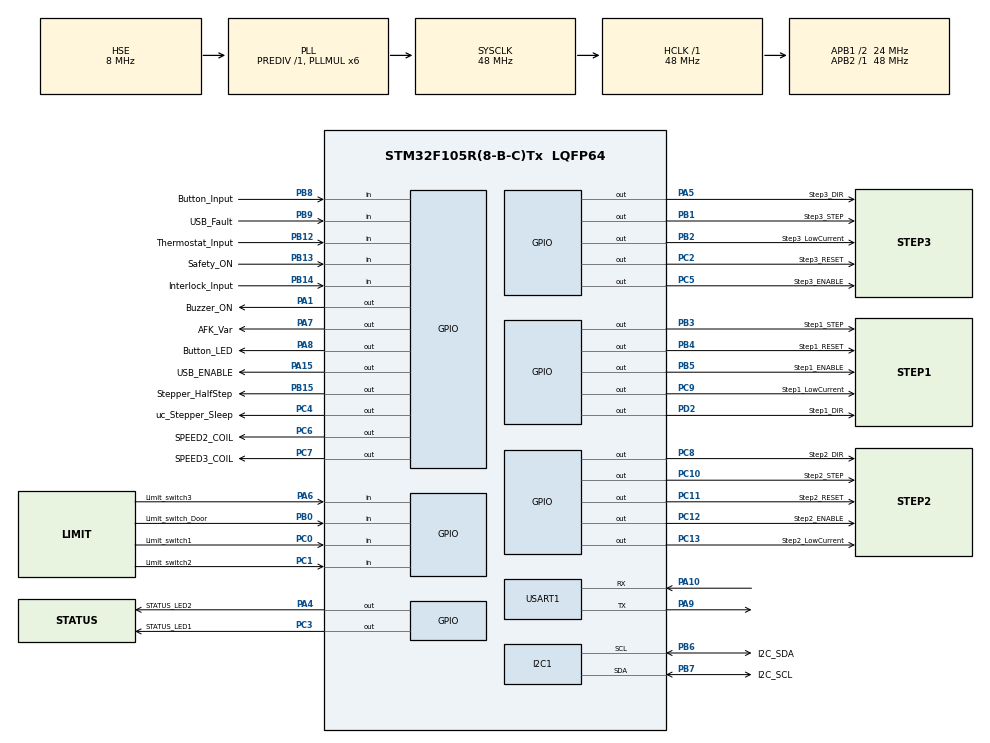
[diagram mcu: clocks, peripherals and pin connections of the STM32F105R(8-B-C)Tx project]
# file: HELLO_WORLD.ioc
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FREERTOS.BinarySemaphores01=I2CSemaphore,Dynamic,NULL
FREERTOS.INCLUDE_uxTaskGetStackHighWaterMark=1
FREERTOS.Tasks01=defaultTask,0,128,StartDefaultTask,Default,NULL,Dynamic,NULL,NULL
FREERTOS.Timers01=Timer,TimerCallback,osTimerPeriodic,Default,NULL,Dynamic,NULL
FREERTOS.configTOTAL_HEAP_SIZE=8192
FREERTOS.configUSE_TIMERS=1
Mcu.Family=STM32F1
Mcu.Name=STM32F105R(8-B-C)Tx
Mcu.Package=LQFP64
NVIC.I2C1_ER_IRQn=true\:5\:0\:false\:false\:true\:true\:true\:true
NVIC.I2C1_EV_IRQn=true\:5\:0\:false\:false\:true\:true\:true\:true
NVIC.PriorityGroup=NVIC_PRIORITYGROUP_4
NVIC.TIM1_UP_IRQn=true\:0\:0\:false\:false\:true\:false\:false\:true
NVIC.TimeBase=TIM1_UP_IRQn
NVIC.TimeBaseIP=TIM1
PA1.GPIO_Label=Buzzer_ON
PA1.Signal=GPIO_Output
PA10.Mode=Asynchronous
PA10.Signal=USART1_RX
PA13.Mode=Serial_Wire
PA13.Signal=SYS_JTMS-SWDIO
PA14.Mode=Serial_Wire
PA14.Signal=SYS_JTCK-SWCLK
PA15.GPIO_Label=USB_ENABLE
PA15.Signal=GPIO_Output
PA2.Signal=USART2_TX
PA3.Signal=USART2_RX
PA4.GPIO_Label=STATUS_LED2
PA4.PinState=GPIO_PIN_SET
PA4.Signal=GPIO_Output
PA5.GPIO_Label=Step3_DIR
PA5.Signal=GPIO_Output
PA6.GPIO_Label=Limit_switch3
PA6.Signal=GPIO_Input
PA7.GPIO_Label=AFK_Var
PA7.Signal=GPIO_Output
PA8.GPIO_Label=Button_LED
PA8.PinState=GPIO_PIN_SET
PA8.Signal=GPIO_Output
PA9.Mode=Asynchronous
PA9.Signal=USART1_TX
PB0.GPIO_Label=Limit_switch_Door
PB0.Signal=GPIO_Input
PB1.GPIO_Label=Step3_STEP
PB1.Signal=GPIO_Output
PB10.Signal=USART3_TX
PB11.Signal=USART3_RX
PB12.GPIO_Label=Thermostat_Input
PB12.Signal=GPIO_Input
PB13.GPIO_Label=Safety_ON
PB13.Signal=GPIO_Input
PB14.GPIO_Label=Interlock_Input
PB14.Signal=GPIO_Input
PB15.GPIO_Label=Stepper_HalfStep
PB15.Signal=GPIO_Output
PB2.GPIO_Label=Step3_LowCurrent
PB2.Signal=GPIO_Output
PB3.GPIO_Label=Step1_STEP
PB3.Signal=GPIO_Output
PB4.GPIO_Label=Step1_RESET
PB4.PinState=GPIO_PIN_SET
PB4.Signal=GPIO_Output
PB5.GPIO_Label=Step1_ENABLE
PB5.PinState=GPIO_PIN_SET
PB5.Signal=GPIO_Output
PB6.GPIO_Label=I2C_SDA
PB6.Mode=I2C
PB6.Signal=I2C1_SCL
PB7.GPIO_Label=I2C_SCL
PB7.Mode=I2C
PB7.Signal=I2C1_SDA
PB8.GPIO_Label=Button_Input
PB8.Signal=GPIO_Input
PB9.GPIO_Label=USB_Fault
PB9.Signal=GPIO_Input
PC0.GPIO_Label=Limit_switch1
PC0.Signal=GPIO_Input
PC1.GPIO_Label=Limit_switch2
PC1.Signal=GPIO_Input
PC10.GPIO_Label=Step2_STEP
PC10.Signal=GPIO_Output
PC11.GPIO_Label=Step2_RESET
PC11.PinState=GPIO_PIN_SET
PC11.Signal=GPIO_Output
PC12.GPIO_Label=Step2_ENABLE
PC12.PinState=GPIO_PIN_SET
PC12.Signal=GPIO_Output
PC13-TAMPER-RTC.GPIO_Label=Step2_LowCurrent
PC13-TAMPER-RTC.Signal=GPIO_Output
PC2.GPIO_Label=Step3_RESET
PC2.PinState=GPIO_PIN_SET
PC2.Signal=GPIO_Output
PC3.GPIO_Label=STATUS_LED1
PC3.GPIO_ModeDefaultOutputPP=GPIO_MODE_OUTPUT_PP
PC3.PinState=GPIO_PIN_SET
PC3.Signal=GPIO_Output
PC4.GPIO_Label=uc_Stepper_Sleep
PC4.Signal=GPIO_Output
PC5.GPIO_Label=Step3_ENABLE
PC5.PinState=GPIO_PIN_SET
PC5.Signal=GPIO_Output
PC6.GPIO_Label=SPEED2_COIL
PC6.Signal=GPIO_Output
PC7.GPIO_Label=SPEED3_COIL
PC7.Signal=GPIO_Output
PC8.GPIO_Label=Step2_DIR
PC8.Signal=GPIO_Output
PC9.GPIO_Label=Step1_LowCurrent
PC9.Signal=GPIO_Output
PD0-OSC_IN.Mode=HSE-External-Oscillator
PD0-OSC_IN.Signal=RCC_OSC_IN
PD1-OSC_OUT.Mode=HSE-External-Oscillator
PD1-OSC_OUT.Signal=RCC_OSC_OUT
PD2.GPIO_Label=Step1_DIR
PD2.Signal=GPIO_Output
ProjectManager.HeapSize=0x200
ProjectManager.StackSize=0x400
ProjectManager.TargetToolchain=STM32CubeIDE
RCC.AHBFreq_Value=48000000
RCC.APB1CLKDivider=RCC_HCLK_DIV2
RCC.APB1Freq_Value=24000000
RCC.APB1TimFreq_Value=48000000
RCC.APB2Freq_Value=48000000
RCC.APB2TimFreq_Value=48000000
RCC.HCLKFreq_Value=48000000
RCC.PLL2Mul=RCC_PLL2_MUL12
RCC.PLLMUL=RCC_PLL_MUL6
RCC.PLLSourceVirtual=RCC_PLLSOURCE_HSE
RCC.Prediv2=RCC_HSE_PREDIV2_DIV2
RCC.SYSCLKFreq_VALUE=48000000
RCC.SYSCLKSource=RCC_SYSCLKSOURCE_PLLCLK
RCC.USBFreq_Value=32000000
USART1.VirtualMode=VM_ASYNC
VP_FREERTOS_VS_CMSIS_V1.Mode=CMSIS_V1
VP_RTC_No_RTC_Output.Mode=RTC_OUT_NO
VP_RTC_VS_RTC_Activate.Mode=RTC_Enabled
VP_RTC_VS_RTC_Calendar.Mode=RTC_Calendar
VP_SYS_VS_tim1.Mode=TIM1
board=custom

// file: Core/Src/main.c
/* USER CODE BEGIN Header */
/**
  ******************************************************************************
  * @file           : main.c
  * @brief          : Main program body
  ******************************************************************************
  * @attention
  *
  * <h2><center>&copy; Copyright (c) 2022 STMicroelectronics.
  * All rights reserved.</center></h2>
  *
  * This software component is licensed by ST under BSD 3-Clause license,
  * the "License"; You may not use this file except in compliance with the
  * License. You may obtain a copy of the License at:
  *                        opensource.org/licenses/BSD-3-Clause
  *
  ******************************************************************************
  */
/* USER CODE END Header */
#include "main.h"
#include "cmsis_os.h"

/* USER CODE BEGIN Includes */
#include "MotorManager.h"
#include "TemperatureManager.h"
#include "DebugPort.h"
#include "TestManager.h"
#include "DebugManager.h"
#include "algo.h"
#include "Hmi.h"
#include <stdio.h>
/* USER CODE END Includes */

I2C_HandleTypeDef hi2c1;

RTC_HandleTypeDef hrtc;

UART_HandleTypeDef huart1;

osThreadId defaultTaskHandle;
osTimerId TimerHandle;
osSemaphoreId I2CSemaphoreHandle;
/* USER CODE BEGIN PV */
osThreadId TemperatureMeasHandle;
osThreadId StepperManagerTHandle;
osThreadId DebugManagerTHandle;
osThreadId HmiManagerTHandle;

#define MAJOR_VER 1
#define MINOR_VER 0
#define REVISION_VER 8

RTC_TimeTypeDef sTime;

/* USER CODE END PV */

void SystemClock_Config(void);
static void MX_GPIO_Init(void);
static void MX_RTC_Init(void);
static void MX_USART1_UART_Init(void);
void StartDefaultTask(void const * argument);
void TimerCallback(void const * argument);

/* USER CODE BEGIN PFP */
//void TemperatureManager(void const * argument);
//void Steppermanager(void const * argument);

/* USER CODE END PFP */

int main(void)
{

  /* MCU Configuration--------------------------------------------------------*/

  /* Reset of all peripherals, Initializes the Flash interface and the Systick. */
  HAL_Init();

  /* Configure the system clock */
  SystemClock_Config();

  /* Initialize all configured peripherals */
  MX_GPIO_Init();
  MX_I2C1_Init();
  MX_RTC_Init();
  MX_USART1_UART_Init();

  /* Create the semaphores(s) */
  /* definition and creation of I2CSemaphore */
  osSemaphoreDef(I2CSemaphore);
  I2CSemaphoreHandle = osSemaphoreCreate(osSemaphore(I2CSemaphore), 1);

  /* Create the timer(s) */
  /* definition and creation of Timer */
  osTimerDef(Timer, TimerCallback);
  TimerHandle = osTimerCreate(osTimer(Timer), osTimerPeriodic, NULL);

  /* Create the thread(s) */
  /* definition and creation of defaultTask */
  osThreadDef(defaultTask, StartDefaultTask, osPriorityNormal, 0, 128);
  defaultTaskHandle = osThreadCreate(osThread(defaultTask), NULL);

  /* USER CODE BEGIN RTOS_THREADS */
  /* add threads, ... */

  osThreadDef(TemperatureMeas, TemperatureManager, osPriorityNormal, 0, 512); //TODO: Validate maximum stack needed adding printf end in Hard Fault handler
  TemperatureMeasHandle = osThreadCreate(osThread(TemperatureMeas), NULL);

  osThreadDef(StepperManagerT, Steppermanager, osPriorityNormal, 0, 128);
  StepperManagerTHandle = osThreadCreate(osThread(StepperManagerT), NULL);

  osThreadDef(DebugManagerT, DebugManager, osPriorityNormal, 0, 512);
  DebugManagerTHandle = osThreadCreate(osThread(DebugManagerT), NULL);

  osThreadDef(HmiManagerT, HmiManager, osPriorityNormal, 0, 128);
  HmiManagerTHandle = osThreadCreate(osThread(HmiManagerT), NULL);

  /* USER CODE END RTOS_THREADS */

  /* Start scheduler */
  osKernelStart();

  /* We should never get here as control is now taken by the scheduler */
  /* Infinite loop */
  while (1)
  {

  }
}

void SystemClock_Config(void)
{
  RCC_OscInitTypeDef RCC_OscInitStruct = {0};
  RCC_ClkInitTypeDef RCC_ClkInitStruct = {0};
  RCC_PeriphCLKInitTypeDef PeriphClkInit = {0};

  /** Initializes the RCC Oscillators according to the specified parameters
  * in the RCC_OscInitTypeDef structure.
  */
  RCC_OscInitStruct.OscillatorType = RCC_OSCILLATORTYPE_LSI|RCC_OSCILLATORTYPE_HSE;
  RCC_OscInitStruct.HSEState = RCC_HSE_ON;
  RCC_OscInitStruct.HSEPredivValue = RCC_HSE_PREDIV_DIV1;
  RCC_OscInitStruct.HSIState = RCC_HSI_ON;
  RCC_OscInitStruct.LSIState = RCC_LSI_ON;
  RCC_OscInitStruct.Prediv1Source = RCC_PREDIV1_SOURCE_HSE;
  RCC_OscInitStruct.PLL.PLLState = RCC_PLL_ON;
  RCC_OscInitStruct.PLL.PLLSource = RCC_PLLSOURCE_HSE;
  RCC_OscInitStruct.PLL.PLLMUL = RCC_PLL_MUL6;
  RCC_OscInitStruct.PLL2.PLL2State = RCC_PLL_NONE;
  if (HAL_RCC_OscConfig(&RCC_OscInitStruct) != HAL_OK)
  {
    Error_Handler();
  }
  /** Initializes the CPU, AHB and APB buses clocks
  */
  RCC_ClkInitStruct.ClockType = RCC_CLOCKTYPE_HCLK|RCC_CLOCKTYPE_SYSCLK
                              |RCC_CLOCKTYPE_PCLK1|RCC_CLOCKTYPE_PCLK2;
  RCC_ClkInitStruct.SYSCLKSource = RCC_SYSCLKSOURCE_PLLCLK;
  RCC_ClkInitStruct.AHBCLKDivider = RCC_SYSCLK_DIV1;
  RCC_ClkInitStruct.APB1CLKDivider = RCC_HCLK_DIV2;
  RCC_ClkInitStruct.APB2CLKDivider = RCC_HCLK_DIV1;

  if (HAL_RCC_ClockConfig(&RCC_ClkInitStruct, FLASH_LATENCY_1) != HAL_OK)
  {
    Error_Handler();
  }
  PeriphClkInit.PeriphClockSelection = RCC_PERIPHCLK_RTC;
  PeriphClkInit.RTCClockSelection = RCC_RTCCLKSOURCE_LSI;
  if (HAL_RCCEx_PeriphCLKConfig(&PeriphClkInit) != HAL_OK)
  {
    Error_Handler();
  }
  /** Configure the Systick interrupt time
  */
  __HAL_RCC_PLLI2S_ENABLE();
}

void MX_I2C1_Init(void)
{

  hi2c1.Instance = I2C1;
  hi2c1.Init.ClockSpeed = 100000;
  hi2c1.Init.DutyCycle = I2C_DUTYCYCLE_2;
  hi2c1.Init.OwnAddress1 = 0;
  hi2c1.Init.AddressingMode = I2C_ADDRESSINGMODE_7BIT;
  hi2c1.Init.DualAddressMode = I2C_DUALADDRESS_DISABLE;
  hi2c1.Init.OwnAddress2 = 0;
  hi2c1.Init.GeneralCallMode = I2C_GENERALCALL_DISABLE;
  hi2c1.Init.NoStretchMode = I2C_NOSTRETCH_DISABLE;
  if (HAL_I2C_Init(&hi2c1) != HAL_OK)
  {
    Error_Handler();
  }

}

static void MX_RTC_Init(void)
{

  RTC_TimeTypeDef sTime = {0};
  RTC_DateTypeDef DateToUpdate = {0};

  /** Initialize RTC Only
  */
  hrtc.Instance = RTC;
  hrtc.Init.AsynchPrediv = RTC_AUTO_1_SECOND;
  hrtc.Init.OutPut = RTC_OUTPUTSOURCE_NONE;
  if (HAL_RTC_Init(&hrtc) != HAL_OK)
  {
    Error_Handler();
  }

  /** Initialize RTC and set the Time and Date
  */
  sTime.Hours = 0x0;
  sTime.Minutes = 0x0;
  sTime.Seconds = 0x0;

  if (HAL_RTC_SetTime(&hrtc, &sTime, RTC_FORMAT_BCD) != HAL_OK)
  {
    Error_Handler();
  }
  DateToUpdate.WeekDay = RTC_WEEKDAY_MONDAY;
  DateToUpdate.Month = RTC_MONTH_JANUARY;
  DateToUpdate.Date = 0x1;
  DateToUpdate.Year = 0x0;

  if (HAL_RTC_SetDate(&hrtc, &DateToUpdate, RTC_FORMAT_BCD) != HAL_OK)
  {
    Error_Handler();
  }

}

static void MX_USART1_UART_Init(void)
{

  huart1.Instance = USART1;
  huart1.Init.BaudRate = 115200;
  huart1.Init.WordLength = UART_WORDLENGTH_8B;
  huart1.Init.StopBits = UART_STOPBITS_1;
  huart1.Init.Parity = UART_PARITY_NONE;
  huart1.Init.Mode = UART_MODE_TX_RX;
  huart1.Init.HwFlowCtl = UART_HWCONTROL_NONE;
  huart1.Init.OverSampling = UART_OVERSAMPLING_16;
  if (HAL_UART_Init(&huart1) != HAL_OK)
  {
    Error_Handler();
  }

}

static void MX_GPIO_Init(void)
{
  GPIO_InitTypeDef GPIO_InitStruct = {0};

  /* GPIO Ports Clock Enable */
  __HAL_RCC_GPIOC_CLK_ENABLE();
  __HAL_RCC_GPIOD_CLK_ENABLE();
  __HAL_RCC_GPIOA_CLK_ENABLE();
  __HAL_RCC_GPIOB_CLK_ENABLE();

  /*Configure GPIO pin Output Level */
  HAL_GPIO_WritePin(GPIOC, Step2_LowCurrent_Pin|uc_Stepper_Sleep_Pin|SPEED2_COIL_Pin|SPEED3_COIL_Pin
                          |Step2_DIR_Pin|Step1_LowCurrent_Pin|Step2_STEP_Pin, GPIO_PIN_RESET);

  /*Configure GPIO pin Output Level */
  HAL_GPIO_WritePin(GPIOC, Step3_RESET_Pin|STATUS_LED1_Pin|Step3_ENABLE_Pin|Step2_RESET_Pin
                          |Step2_ENABLE_Pin, GPIO_PIN_SET);

  /*Configure GPIO pin Output Level */
  HAL_GPIO_WritePin(GPIOA, Buzzer_ON_Pin|Step3_DIR_Pin|AFK_Var_Pin|USB_ENABLE_Pin, GPIO_PIN_RESET);

  /*Configure GPIO pin Output Level */
  HAL_GPIO_WritePin(GPIOA, STATUS_LED2_Pin|Button_LED_Pin, GPIO_PIN_SET);

  /*Configure GPIO pin Output Level */
  HAL_GPIO_WritePin(GPIOB, Step3_STEP_Pin|Step3_LowCurrent_Pin|Stepper_HalfStep_Pin|Step1_STEP_Pin, GPIO_PIN_RESET);

  /*Configure GPIO pin Output Level */
  HAL_GPIO_WritePin(Step1_DIR_GPIO_Port, Step1_DIR_Pin, GPIO_PIN_RESET);

  /*Configure GPIO pin Output Level */
  HAL_GPIO_WritePin(GPIOB, Step1_RESET_Pin|Step1_ENABLE_Pin, GPIO_PIN_SET);

  /*Configure GPIO pins : Step2_LowCurrent_Pin Step3_RESET_Pin STATUS_LED1_Pin uc_Stepper_Sleep_Pin
                           Step3_ENABLE_Pin SPEED2_COIL_Pin SPEED3_COIL_Pin Step2_DIR_Pin
                           Step1_LowCurrent_Pin Step2_STEP_Pin Step2_RESET_Pin Step2_ENABLE_Pin */
  GPIO_InitStruct.Pin = Step2_LowCurrent_Pin|Step3_RESET_Pin|STATUS_LED1_Pin|uc_Stepper_Sleep_Pin
                          |Step3_ENABLE_Pin|SPEED2_COIL_Pin|SPEED3_COIL_Pin|Step2_DIR_Pin
                          |Step1_LowCurrent_Pin|Step2_STEP_Pin|Step2_RESET_Pin|Step2_ENABLE_Pin;
  GPIO_InitStruct.Mode = GPIO_MODE_OUTPUT_PP;
  GPIO_InitStruct.Pull = GPIO_NOPULL;
  GPIO_InitStruct.Speed = GPIO_SPEED_FREQ_LOW;
  HAL_GPIO_Init(GPIOC, &GPIO_InitStruct);

  /*Configure GPIO pins : Limit_switch1_Pin Limit_switch2_Pin */
  GPIO_InitStruct.Pin = Limit_switch1_Pin|Limit_switch2_Pin;
  GPIO_InitStruct.Mode = GPIO_MODE_INPUT;
  GPIO_InitStruct.Pull = GPIO_NOPULL;
  HAL_GPIO_Init(GPIOC, &GPIO_InitStruct);

  /*Configure GPIO pins : Buzzer_ON_Pin STATUS_LED2_Pin Step3_DIR_Pin AFK_Var_Pin
                           Button_LED_Pin USB_ENABLE_Pin */
  GPIO_InitStruct.Pin = Buzzer_ON_Pin|STATUS_LED2_Pin|Step3_DIR_Pin|AFK_Var_Pin
                          |Button_LED_Pin|USB_ENABLE_Pin;
  GPIO_InitStruct.Mode = GPIO_MODE_OUTPUT_PP;
  GPIO_InitStruct.Pull = GPIO_NOPULL;
  GPIO_InitStruct.Speed = GPIO_SPEED_FREQ_LOW;
  HAL_GPIO_Init(GPIOA, &GPIO_InitStruct);

  /*Configure GPIO pin : PA2 */
  GPIO_InitStruct.Pin = GPIO_PIN_2;
  GPIO_InitStruct.Mode = GPIO_MODE_AF_PP;
  GPIO_InitStruct.Speed = GPIO_SPEED_FREQ_HIGH;
  HAL_GPIO_Init(GPIOA, &GPIO_InitStruct);

  /*Configure GPIO pin : PA3 */
  GPIO_InitStruct.Pin = GPIO_PIN_3;
  GPIO_InitStruct.Mode = GPIO_MODE_INPUT;
  GPIO_InitStruct.Pull = GPIO_NOPULL;
  HAL_GPIO_Init(GPIOA, &GPIO_InitStruct);

  /*Configure GPIO pin : Limit_switch3_Pin */
  GPIO_InitStruct.Pin = Limit_switch3_Pin;
  GPIO_InitStruct.Mode = GPIO_MODE_INPUT;
  GPIO_InitStruct.Pull = GPIO_NOPULL;
  HAL_GPIO_Init(Limit_switch3_GPIO_Port, &GPIO_InitStruct);

  /*Configure GPIO pins : Limit_switch_Door_Pin Thermostat_Input_Pin Safety_ON_Pin Interlock_Input_Pin
                           Button_Input_Pin USB_Fault_Pin */
  GPIO_InitStruct.Pin = Limit_switch_Door_Pin|Thermostat_Input_Pin|Safety_ON_Pin|Interlock_Input_Pin
                          |Button_Input_Pin|USB_Fault_Pin;
  GPIO_InitStruct.Mode = GPIO_MODE_INPUT;
  GPIO_InitStruct.Pull = GPIO_NOPULL;
  HAL_GPIO_Init(GPIOB, &GPIO_InitStruct);

  /*Configure GPIO pins : Step3_STEP_Pin Step3_LowCurrent_Pin Stepper_HalfStep_Pin Step1_STEP_Pin
                           Step1_RESET_Pin Step1_ENABLE_Pin */
  GPIO_InitStruct.Pin = Step3_STEP_Pin|Step3_LowCurrent_Pin|Stepper_HalfStep_Pin|Step1_STEP_Pin
                          |Step1_RESET_Pin|Step1_ENABLE_Pin;
  GPIO_InitStruct.Mode = GPIO_MODE_OUTPUT_PP;
  GPIO_InitStruct.Pull = GPIO_NOPULL;
  GPIO_InitStruct.Speed = GPIO_SPEED_FREQ_LOW;
  HAL_GPIO_Init(GPIOB, &GPIO_InitStruct);

  /*Configure GPIO pin : PB10 */
  GPIO_InitStruct.Pin = GPIO_PIN_10;
  GPIO_InitStruct.Mode = GPIO_MODE_AF_PP;
  GPIO_InitStruct.Speed = GPIO_SPEED_FREQ_HIGH;
  HAL_GPIO_Init(GPIOB, &GPIO_InitStruct);

  /*Configure GPIO pin : PB11 */
  GPIO_InitStruct.Pin = GPIO_PIN_11;
  GPIO_InitStruct.Mode = GPIO_MODE_INPUT;
  GPIO_InitStruct.Pull = GPIO_NOPULL;
  HAL_GPIO_Init(GPIOB, &GPIO_InitStruct);

  /*Configure GPIO pin : Step1_DIR_Pin */
  GPIO_InitStruct.Pin = Step1_DIR_Pin;
  GPIO_InitStruct.Mode = GPIO_MODE_OUTPUT_PP;
  GPIO_InitStruct.Pull = GPIO_NOPULL;
  GPIO_InitStruct.Speed = GPIO_SPEED_FREQ_LOW;
  HAL_GPIO_Init(Step1_DIR_GPIO_Port, &GPIO_InitStruct);

}

void StartDefaultTask(void const * argument)
{
  /* USER CODE BEGIN 5 */
	printf("-------------------------------\n\r"); //TODO: if we remove this call, go to hardfault handler  or fail to execute

	    switch (readModel())
	    {
	    	  case HEATMAX:
	  	   	  printf("HeatCom CaddyAdv");
	  	  break;
	    	  case CADDY_ADVANCED:
	    		  printf("Caddy Advanced");
	  	  break;
	    	  case HEATPACK:
	    		  printf("Heatpack");
	  	  break;
	    	  case MINI_CADDY:
	    		  printf("Mini Caddy");
	    	  break;
	    	  case HEATPRO:
	    		  printf("HeatPro");
	  	  break;
	    	  case MAX_CADDY:
	    		  printf("Max Caddy");
	  	  break;
	    	  default:
	    		  printf("Invalid Model");
	    		break;
	    }
	    uint32_t j=0; //for a dumbass delay
	    //HAL_GPIO_WritePin(STATUS_LED0_GPIO_Port,STATUS_LED0_Pin,SET);
	    HAL_GPIO_WritePin(STATUS_LED1_GPIO_Port,STATUS_LED1_Pin,SET);
	    HAL_GPIO_WritePin(STATUS_LED2_GPIO_Port,STATUS_LED2_Pin,SET);
	    for(j=0;j<10000000;j++){asm("NOP");}
	    printf(" Version %i.%i.%i\n\r",MAJOR_VER,MINOR_VER,REVISION_VER);

	    int i=0;

	    for(i=0;i<MAJOR_VER;i++)
	    {
	  	  //HAL_GPIO_WritePin(STATUS_LED0_GPIO_Port,STATUS_LED0_Pin,RESET);
	  	  //for(j=0;j<5000000;j++){asm("NOP");}
	  	  //HAL_GPIO_WritePin(STATUS_LED0_GPIO_Port,STATUS_LED0_Pin,SET);
	  	  //for(j=0;j<5000000;j++){asm("NOP");}
	    }
	    for(i=0;i<MINOR_VER;i++)
	    {
	  	  HAL_GPIO_WritePin(STATUS_LED1_GPIO_Port,STATUS_LED1_Pin,RESET);
	  	  for(j=0;j<5000000;j++){asm("NOP");}
	  	  HAL_GPIO_WritePin(STATUS_LED1_GPIO_Port,STATUS_LED1_Pin,SET);
	  	  for(j=0;j<5000000;j++){asm("NOP");}
	    }
	    for(i=0;i<REVISION_VER;i++)
	    {
	  	  HAL_GPIO_WritePin(STATUS_LED2_GPIO_Port,STATUS_LED2_Pin,RESET);
	  	  for(j=0;j<5000000;j++){asm("NOP");}
	  	  HAL_GPIO_WritePin(STATUS_LED2_GPIO_Port,STATUS_LED2_Pin,SET);
	  	  for(j=0;j<5000000;j++){asm("NOP");}
	    }
  /* Infinite loop */
  for(;;)
  {
    osDelay(1);

  }
  /* USER CODE END 5 */
}

/* TimerCallback function */
void TimerCallback(void const * argument)
{
  /* USER CODE BEGIN TimerCallback */
	osTimerStop(TimerHandle);
  /* USER CODE END TimerCallback */
}

 /**
  * @brief  Period elapsed callback in non blocking mode
  * @note   This function is called  when TIM1 interrupt took place, inside
  * HAL_TIM_IRQHandler(). It makes a direct call to HAL_IncTick() to increment
  * a global variable "uwTick" used as application time base.
  * @param  htim : TIM handle
  * @retval None
  */
void HAL_TIM_PeriodElapsedCallback(TIM_HandleTypeDef *htim)
{
  if (htim->Instance == TIM1) {
    HAL_IncTick();
  }
}

void Error_Handler(void)
{
  /* USER CODE BEGIN Error_Handler_Debug */
	printf("Error Handler called");
  /* User can add his own implementation to report the HAL error return state */
  __disable_irq();
  while (1)
  {
  }
  /* USER CODE END Error_Handler_Debug */
}

/************************ (C) COPYRIGHT STMicroelectronics *****END OF FILE****/
